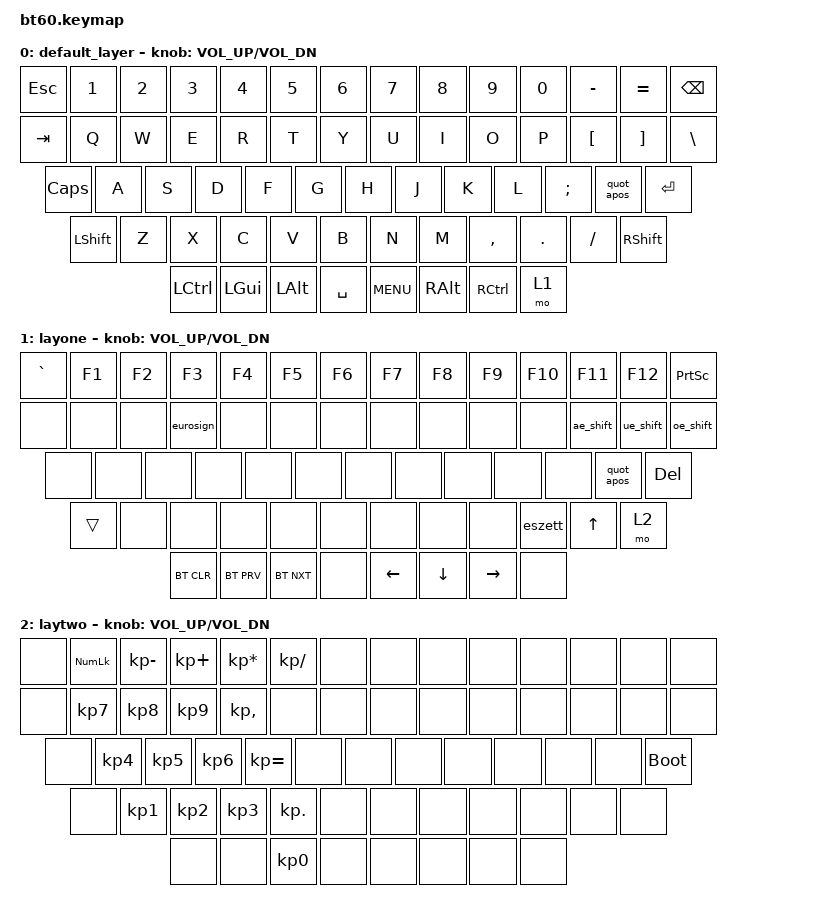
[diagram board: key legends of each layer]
#include <behaviors.dtsi>
#include <dt-bindings/zmk/keys.h>
#include <dt-bindings/zmk/bt.h>
#include <dt-bindings/zmk/rgb.h>
#include <dt-bindings/zmk/backlight.h>

/ {
	macros {
        ZMK_MACRO(ae_lowercase,
        wait-ms = <0>;
        tap-ms = <0>;
        bindings = <&kp LS(APOS) &kp A>;
        )
        ZMK_MACRO(ae_uppercase,
        wait-ms = <0>;
        tap-ms = <0>;
        bindings = <&kp LS(APOS) &kp LS(A)>;
        )
        ZMK_MACRO(oe_lowercase,
        wait-ms = <0>;
        tap-ms = <0>;
        bindings = <&kp LS(APOS) &kp O>;
        )
        ZMK_MACRO(oe_uppercase,
        wait-ms = <0>;
        tap-ms = <0>;
        bindings = <&kp LS(APOS) &kp LS(O)>;
        )
        ZMK_MACRO(ue_lowercase,
        wait-ms = <0>;
        tap-ms = <0>;
        bindings = <&kp LS(APOS) &kp U>;
        )
        ZMK_MACRO(ue_uppercase,
        wait-ms = <0>;
        tap-ms = <0>;
        bindings = <&kp LS(APOS) &kp LS(U)>;
        )
        ZMK_MACRO(eszett,
        wait-ms = <0>;
        tap-ms = <0>;
        bindings = <&kp RA(S)>;
        )
        ZMK_MACRO(eurosign,
        wait-ms = <0>;
        tap-ms = <0>;
        bindings = <&kp RA(NUMBER_5)>;
        )
        ZMK_MACRO(apostrophe,
        wait-ms = <50>;
        tap-ms = <0>;
        bindings = <&kp APOS &kp SPACE>;
        )
        ZMK_MACRO(quotations,
        wait-ms = <50>;
        tap-ms = <0>;
        bindings = <&kp LS(APOS) &kp SPACE>;
        )
    };

	behaviors {
        ae_shift: ae_shift {
            compatible = "zmk,behavior-mod-morph";
            label = "AE_SHIFT";
            #binding-cells = <0>;
            bindings = <&ae_lowercase>, <&ae_uppercase>;
            mods = <(MOD_LSFT)>;
        };
		ue_shift: ue_shift {
            compatible = "zmk,behavior-mod-morph";
            label = "UE_SHIFT";
            #binding-cells = <0>;
            bindings = <&ue_lowercase>, <&ue_uppercase>;
            mods = <(MOD_LSFT)>;
        };
		oe_shift: oe_shift {
            compatible = "zmk,behavior-mod-morph";
            label = "OE_SHIFT";
            #binding-cells = <0>;
            bindings = <&oe_lowercase>, <&oe_uppercase>;
            mods = <(MOD_LSFT)>;
        };
		quot_apos: quot_apos {
            compatible = "zmk,behavior-mod-morph";
            label = "QUOT_APOS";
            #binding-cells = <0>;
            bindings = <&apostrophe>, <&quotations>;
            mods = <(MOD_LSFT)>;
        };
    };

	keymap {
		compatible = "zmk,keymap";

		default_layer {
				// ------------------------------------------------------------------------------------------
				// | ESC  |  1  |  2  |  3  |  4  |  5  |  6  |  7  |  8  |  9  |  0  |  -  |  =  |   BKSP
				// | TAB  |  Q  |  W  |  E  |  R  |  T  |  Y  |  U  |  I  |  O  |  P  |  [  |  ]  |   |
				// | CAPS  |  A  |  S  |  D  |  F  |  G  |  H  |  J  |  K  |  L  |  ;  |  '  |     ENTER
				// |  SHIFT    |  Z  |  X  |  C  |  V  |  B  |  N  |  M  |  ,  |  .  | /   |   SHIFT
				// |  CTL  |  WIN  |  ALT  |            SPACE               | MENU | RALT |  CTRL    |  LAY1
				// ------------------------------------------------------------------------------------------
			bindings = <

				&kp ESC &kp N1 &kp N2 &kp N3 &kp N4 &kp N5 &kp N6 &kp N7 &kp  N8   &kp  N9 &kp  N0  &kp MINUS &kp EQUAL &kp BSPC
				&kp TAB  &kp Q  &kp W  &kp E  &kp R  &kp T  &kp Y  &kp U  &kp  I    &kp  O  &kp  P   &kp LBKT &kp RBKT  &kp BSLH
				&kp CAPS  &kp A  &kp S  &kp D  &kp F  &kp G  &kp H  &kp J  &kp  K    &kp  L  &kp SEMI &quot_apos         &kp RET
				&kp LSHFT  &kp Z  &kp X  &kp C  &kp V  &kp B  &kp N  &kp M  &kp COMMA &kp DOT &kp FSLH          &kp RSHFT
				&kp LCTRL &kp LGUI &kp LALT            &kp SPACE                            &kp C_MENU &kp RALT &kp RCTRL &mo 1
			>;
			sensor-bindings = <&inc_dec_kp C_VOL_UP C_VOL_DN>;
		};
		layone {
				// ------------------------------------------------------------------------------------------
				// |  `  |  F1 |  F2 |  F3 |  F4 |  F5 |  F6 |  F7 |  F8 |  F9 | F10 | F11 | F12 |  BKSP
				// |      |     |     | EUR |    |    |     |     |     |     |     |  Ä   |  Ü  |   Ö 
				// |       |     |     |     |     |     |     |     |     |     |     |  '  |    DELETE
				// |           |     |     |     |     |     |     |     |     |  ß  |  UP |        LAY2
				// |BT_CLR | BT_PRV| BT_NXT|                                | LEFT | DOWN | RIGHT | NONE
				// ------------------------------------------------------------------------------------------
			bindings = <

				&kp GRAVE &kp F1 &kp F2 &kp F3 &kp F4 &kp F5 &kp F6 &kp F7 &kp F8 &kp F9 &kp F10 &kp F11 &kp F12    &kp PSCRN
				&none  &none  &none  &eurosign  &none  &none  &none  &none  &none &none  &none  &ae_shift &ue_shift &oe_shift
				&none   &none  &none  &none     &none  &none  &none  &none  &none  &none  &none &quot_apos            &kp DEL
				&trans    &none  &none  &none     &none  &none  &none  &none  &none  &eszett   &kp UP                   &mo 2
				&bt BT_CLR   &bt BT_PRV &bt BT_NXT               &none                    &kp LEFT  &kp DOWN  &kp RIGHT &none
			
			>;
			sensor-bindings = <&inc_dec_kp C_VOL_UP C_VOL_DN>;
		};
		laytwo {
				// ------------------------------------------------------------------------------------------
				// |     | NLK | PMN | PLS | AST | SLS |     |     |     |     |     |     |     |       
				// |      |  P7 | P8  |  P9 |CMM |    |     |     |     |     |     |      |     |    
				// |       |  P4 |  P5 | P6  | EQL |     |     |     |     |     |     |     |  bootloader  
				// |           | P1  | P2  |  P3 | DOT |     |     |     |     |     |     |     
				// |       |       |  P0   |                                |      |      |          |       
				// ------------------------------------------------------------------------------------------
				// NLK      - NUMLOCK
				// PMN      - Numpad minus
				// PLS      - Numpad plus
				// AST      - Numpad *
				// SLS      - Numpad /
				// DOT      - Numpad .
				// EQL      - Numpad =
				// CMM      - Numpad ,
				// P0-P9    - Numpad 0-9
				// -------------------------

			bindings = <
				&none &kp KP_NLCK &kp KP_MINUS &kp KP_PLUS &kp KP_ASTERISK &kp KP_DIVIDE &none &none &none &none &none &none &none   &none
				&none  &kp KP_N7 &kp KP_N8 &kp KP_N9 &kp KP_COMMA &none &none &none &none &none &none &none &none  &none
				&none   &kp KP_N4 &kp KP_N5 &kp KP_N6 &kp KP_EQUAL &none &none &none &none &none &none &none   &bootloader
				&none    &kp KP_N1 &kp KP_N2 &kp KP_N3 &kp KP_DOT &none &none &none &none &none &none     &none 
				&none &none &kp KP_N0              &none                             &none  &none  &none  &none
			>;
			sensor-bindings = <&inc_dec_kp C_VOL_UP C_VOL_DN>;
		};
	};
};
